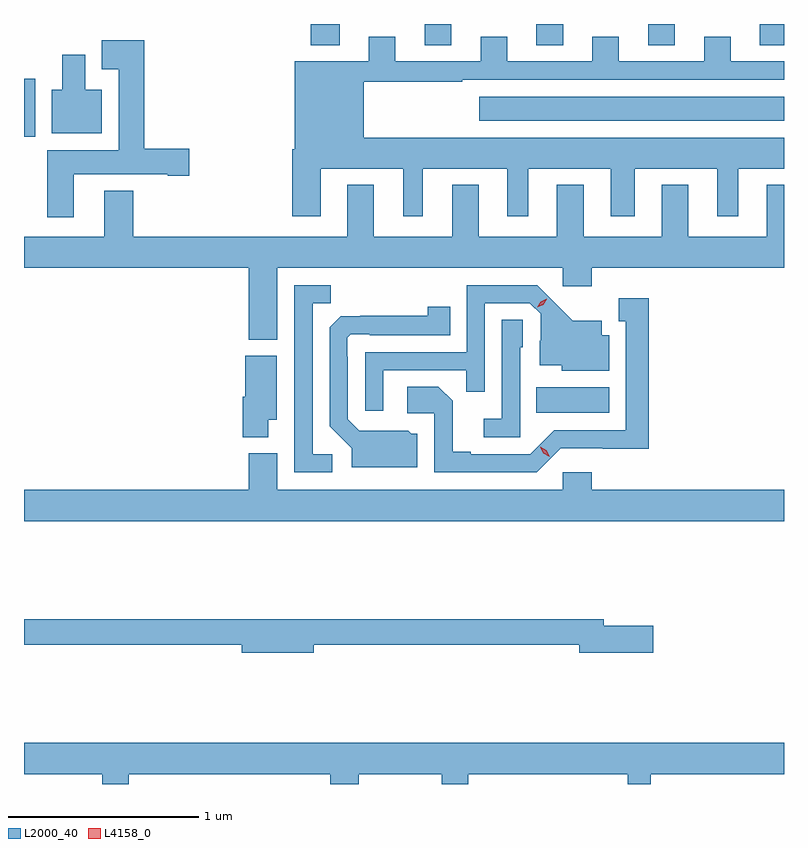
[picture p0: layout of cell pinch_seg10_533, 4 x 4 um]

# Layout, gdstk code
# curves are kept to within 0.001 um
import gdstk
lib = gdstk.Library(unit=1e-6, precision=1e-09)
def R(c, l, rs):  # rectangles x0, y0, x1, y1
    for r in rs: c.add(gdstk.rectangle(r[:2], r[2:], *l))
def A(c, l, x, y, w, h, nx, ny, dx, dy):  # array of equal rectangles
    R(c, l, [(x+i*dx, y+j*dy, x+i*dx+w, y+j*dy+h) for i in range(nx) for j in range(ny)])
def P(c, l, *ps):  # polygons
    for p in ps: c.add(gdstk.Polygon(p, *l))
L2000_40 = (2000, 40)
L4158_0 = (4158, 0)

pinch_seg10_533 = lib.new_cell('pinch_seg10_533')
A(pinch_seg10_533, L2000_40, 338.801, 1258.864, 0.14, 0.112, 3, 1, 0.588, 0)
R(pinch_seg10_533, L2000_40, [(339.388,1256.93,339.772,1257.064), (336.692,1258.382,336.751,1258.687), (339.087,1258.466,340.692,1258.594), (340.565,1258.864,340.692,1258.976), (338.201,1258.865,338.353,1258.976)])
P(pinch_seg10_533, L2000_40, [(338.254,1258.214),(338.687,1258.214),(338.687,1257.963),(338.791,1257.963),(338.791,1258.214),(339.236,1258.214),(339.236,1257.963),(339.346,1257.963),(339.346,1258.214),(339.779,1258.214),(339.779,1257.963),(339.907,1257.963),(339.907,1258.214),(340.34,1258.214),(340.34,1257.963),(340.45,1257.963),(340.45,1258.214),(340.692,1258.214),(340.692,1258.378),(338.479,1258.378),(338.479,1258.671),(338.999,1258.671),(338.999,1258.683),(340.692,1258.683),(340.692,1258.779),(340.411,1258.779),(340.411,1258.909),(340.271,1258.909),(340.271,1258.779),(339.823,1258.779),(339.823,1258.909),(339.683,1258.909),(339.683,1258.779),(339.235,1258.779),(339.235,1258.909),(339.095,1258.909),(339.095,1258.779),(338.647,1258.779),(338.647,1258.909),(338.507,1258.909),(338.507,1258.78),(338.117,1258.78),(338.117,1258.318),(338.105,1258.318),(338.105,1257.963),(338.254,1257.963)],
  [(336.955,1258.184),(337.448,1258.184),(337.448,1258.177),(337.561,1258.177),(337.561,1258.319),(337.325,1258.319),(337.325,1258.891),(337.1,1258.891),(337.1,1258.739),(337.19,1258.739),(337.19,1258.312),(336.815,1258.312),(336.815,1257.96),(336.955,1257.96)],
  [(337.102,1258.63),(337.015,1258.63),(337.015,1258.813),(336.893,1258.813),(336.893,1258.63),(336.839,1258.63),(336.839,1258.4),(337.102,1258.4)],
  [(338.026,1257.692),(339.528,1257.692),(339.528,1257.597),(339.68,1257.597),(339.68,1257.692),(340.692,1257.692),(340.692,1258.129),(340.601,1258.129),(340.601,1257.856),(340.189,1257.856),(340.189,1258.129),(340.049,1258.129),(340.049,1257.856),(339.637,1257.856),(339.637,1258.129),(339.497,1258.129),(339.497,1257.856),(339.085,1257.856),(339.085,1258.129),(338.945,1258.129),(338.945,1257.856),(338.533,1257.856),(338.533,1258.129),(338.393,1258.129),(338.393,1257.856),(337.268,1257.856),(337.268,1258.099),(337.115,1258.099),(337.115,1257.856),(336.692,1257.856),(336.692,1257.692),(337.874,1257.692),(337.874,1257.314),(338.026,1257.314)],
  [(338.583,1257.153),(339.019,1257.153),(339.019,1257.04),(339.117,1257.04),(339.117,1257.507),(339.354,1257.507),(339.411,1257.45),(339.411,1257.308),(339.407,1257.308),(339.407,1257.179),(339.522,1257.179),(339.522,1257.152),(339.772,1257.152),(339.772,1257.337),(339.733,1257.337),(339.733,1257.415),(339.581,1257.415),(339.394,1257.6),(339.021,1257.6),(339.021,1257.249),(338.487,1257.249),(338.487,1256.94),(338.583,1256.94)],
  [(338.314,1256.712),(338.211,1256.712),(338.211,1257.505),(338.307,1257.505),(338.307,1257.6),(338.115,1257.6),(338.115,1256.616),(338.314,1256.616)],
  [(339.516,1256.742),(339.979,1256.741),(339.979,1257.532),(339.821,1257.532),(339.821,1257.411),(339.86,1257.411),(339.86,1256.838),(339.483,1256.838),(339.357,1256.712),(339.043,1256.712),(339.043,1256.725),(338.949,1256.725),(338.949,1256.992),(338.873,1257.068),(338.709,1257.068),(338.709,1256.928),(338.85,1256.928),(338.85,1256.616),(339.39,1256.616)],
  [(338.761,1256.82),(338.73,1256.82),(338.714,1256.836),(338.457,1256.835),(338.397,1256.895),(338.397,1257.224),(338.394,1257.224),(338.394,1257.324),(338.412,1257.342),(338.512,1257.342),(338.512,1257.339),(338.936,1257.339),(338.936,1257.487),(338.818,1257.487),(338.818,1257.44),(338.36,1257.439),(338.301,1257.38),(338.301,1256.858),(338.417,1256.742),(338.417,1256.642),(338.761,1256.642)],
  [(339.303,1257.276),(339.318,1257.276),(339.318,1257.419),(339.207,1257.419),(339.207,1256.899),(339.111,1256.899),(339.111,1256.802),(339.303,1256.802)],
  [(337.978,1256.894),(338.023,1256.894),(338.023,1257.229),(337.856,1257.229),(337.856,1257.015),(337.844,1257.015),(337.844,1256.801),(337.978,1256.801)],
  [(340.692,1256.524),(339.68,1256.524),(339.68,1256.617),(339.528,1256.617),(339.528,1256.524),(338.026,1256.524),(338.026,1256.716),(337.874,1256.716),(337.874,1256.524),(336.692,1256.524),(336.692,1256.36),(340.692,1256.36)],
  [(338.218,1255.708),(339.614,1255.708),(339.614,1255.666),(340.003,1255.666),(340.003,1255.808),(339.742,1255.808),(339.742,1255.844),(336.692,1255.844),(336.692,1255.708),(337.838,1255.708),(337.838,1255.666),(338.218,1255.666)],
  [(337.243,1255.028),(338.303,1255.028),(338.303,1254.976),(338.455,1254.976),(338.455,1255.028),(338.891,1255.028),(338.891,1254.976),(339.031,1254.976),(339.031,1255.028),(339.87,1255.028),(339.87,1254.976),(339.991,1254.976),(339.991,1255.028),(340.692,1255.028),(340.692,1255.192),(336.692,1255.192),(336.692,1255.028),(337.104,1255.028),(337.104,1254.976),(337.243,1254.976)])
P(pinch_seg10_533, L4158_0, [(339.458,1256.699),(339.426,1256.718),(339.409,1256.75),(339.409,1256.75),(339.409,1256.75),(339.441,1256.732),(339.458,1256.699),(339.458,1256.699)],
  [(339.394,1257.484),(339.394,1257.484),(339.411,1257.513),(339.442,1257.529),(339.442,1257.529),(339.442,1257.528),(339.425,1257.499),(339.394,1257.484)])

lib.write_gds('pinch_seg10_533.gds')
